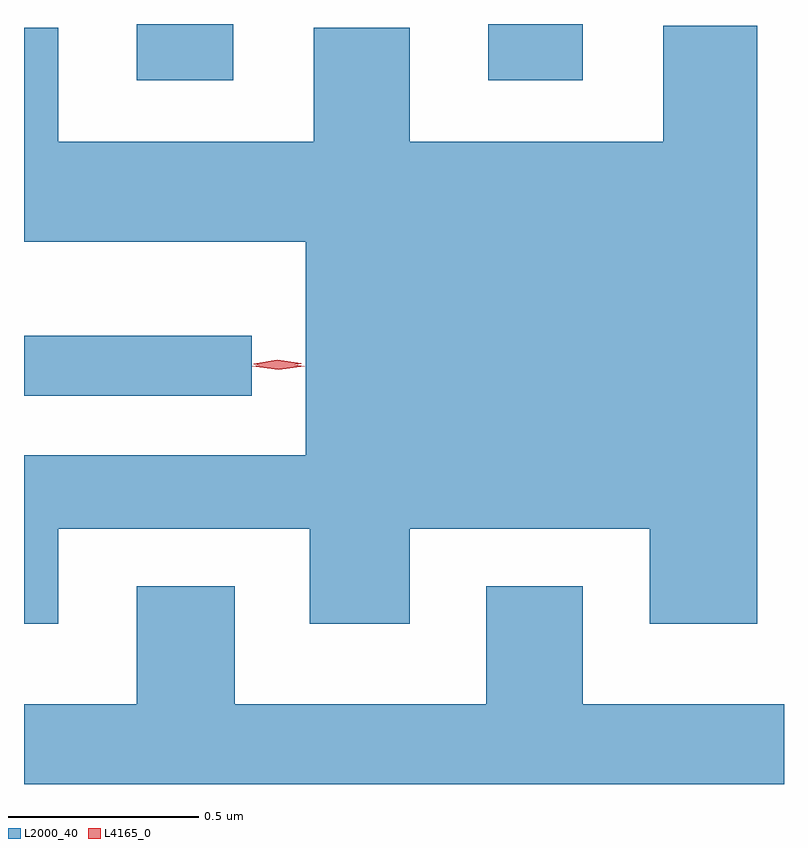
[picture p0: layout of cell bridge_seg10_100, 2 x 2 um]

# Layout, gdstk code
import gdstk
lib = gdstk.Library(unit=1e-6, precision=1e-09)
def R(c, l, rs):  # rectangles x0, y0, x1, y1
    for r in rs: c.add(gdstk.rectangle(r[:2], r[2:], *l))
def P(c, l, *ps):  # polygons
    for p in ps: c.add(gdstk.Polygon(p, *l))
L2000_40 = (2000, 40)
L4165_0 = (4165, 0)

bridge_seg10_100 = lib.new_cell('bridge_seg10_100')
R(bridge_seg10_100, L2000_40, [(1585.629,2174.936,1586.228,2175.094), (1585.926,2175.766,1586.179,2175.914), (1586.851,2175.766,1587.099,2175.914)])
P(bridge_seg10_100, L2000_40, [(1585.719,2174.586),(1586.381,2174.586),(1586.381,2174.336),(1586.644,2174.336),(1586.644,2174.586),(1587.276,2174.586),(1587.276,2174.336),(1587.559,2174.336),(1587.559,2175.909),(1587.311,2175.909),(1587.311,2175.604),(1586.644,2175.604),(1586.644,2175.904),(1586.391,2175.904),(1586.391,2175.604),(1585.719,2175.604),(1585.719,2175.904),(1585.629,2175.904),(1585.629,2175.341),(1586.371,2175.341),(1586.371,2174.779),(1585.629,2174.779),(1585.629,2174.336),(1585.719,2174.336)],
  [(1587.629,2174.124),(1587.099,2174.124),(1587.099,2174.434),(1586.846,2174.434),(1586.846,2174.124),(1586.184,2174.124),(1586.184,2174.434),(1585.926,2174.434),(1585.926,2174.124),(1585.629,2174.124),(1585.629,2173.914),(1587.629,2173.914)])
P(bridge_seg10_100, L4165_0, [(1586.295,2175.01),(1586.233,2175.019),(1586.233,2175.02),(1586.233,2175.02),(1586.295,2175.03),(1586.358,2175.021),(1586.358,2175.02),(1586.358,2175.02)],
  [(1586.299,2175.004),(1586.23,2175.013),(1586.23,2175.014),(1586.23,2175.014),(1586.299,2175.024),(1586.367,2175.014),(1586.368,2175.014),(1586.367,2175.013)])

lib.write_gds('bridge_seg10_100.gds')
